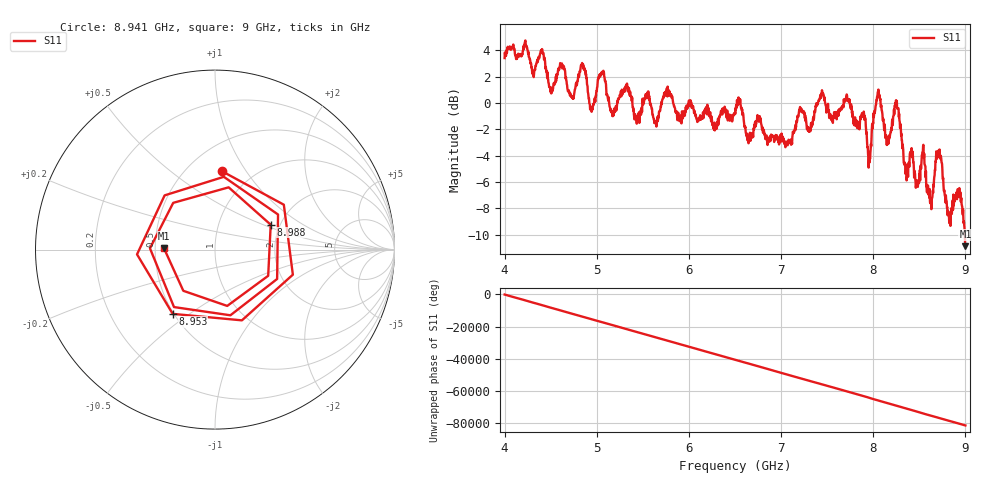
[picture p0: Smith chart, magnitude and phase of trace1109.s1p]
! Created with skrf 1.8.0 (http://scikit-rf.org).
# Hz S RI R 50.0
!freq ReS11 ImS11
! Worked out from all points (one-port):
!   1601 points, 4 GHz to 9 GHz, reference 50 ohm
!   lowest |S11| = -10.9 dB at 9 GHz (marker M1), VSWR 1.80, Z = 27.8 + j0.59 ohm
!   |S11| at or under -10 dB: 8.994444 GHz to end of sweep
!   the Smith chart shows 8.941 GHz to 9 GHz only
!   S11 on the Smith chart (normalised r, x): 8.941 GHz: 0.73, +0.78; 8.953 GHz: 0.49, -0.43; 8.988 GHz: 1.79, +0.56; 9 GHz: 0.56, +0.01
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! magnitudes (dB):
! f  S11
! 4 GHz  3.4
! 4.406 GHz  4.1
! 4.503 GHz  0.8
! 4.625 GHz  2.6
! 4.731 GHz  0.5
! 4.853 GHz  2.9
! 4.944 GHz  -0.7
! 5.053 GHz  2.3
! 5.159 GHz  -0.6
! 5.25 GHz  0.6
! 5.875 GHz  -1.3
! 6.5 GHz  -0.7
! 7.125 GHz  -2.4
! 7.441 GHz  0.6
! 7.75 GHz  -0.2
! 7.956 GHz  -3.7
! 8.053 GHz  0.8
! 8.156 GHz  -3.1
! 8.256 GHz  0.1
! 8.375 GHz  -5.3
! 8.541 GHz  -3.3
! 8.625 GHz  -7.7
! 8.709 GHz  -3.6
! 8.819 GHz  -8.5
! 8.941 GHz  -7.2
! 8.953 GHz  -7.4
! 8.988 GHz  -9.4
! 9 GHz  -10.9
